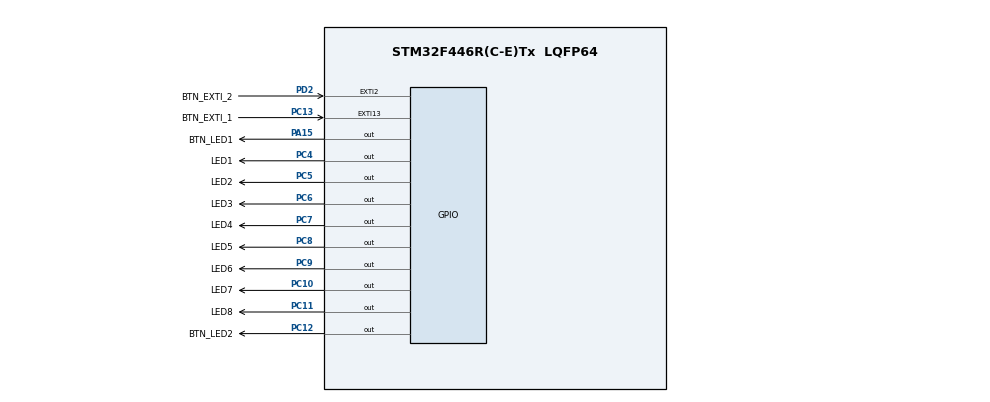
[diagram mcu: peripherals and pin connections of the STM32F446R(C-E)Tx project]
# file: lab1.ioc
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Mcu.Family=STM32F4
Mcu.Name=STM32F446R(C-E)Tx
Mcu.Package=LQFP64
NVIC.EXTI15_10_IRQn=true\:0\:0\:false\:false\:true\:true\:true\:true
NVIC.EXTI2_IRQn=true\:0\:0\:false\:false\:true\:true\:true\:true
NVIC.PriorityGroup=NVIC_PRIORITYGROUP_4
NVIC.TIM2_IRQn=true\:0\:0\:false\:false\:true\:true\:true\:true
PA15.GPIO_Label=BTN_LED1
PA15.Signal=GPIO_Output
PC10.GPIO_Label=LED7
PC10.Signal=GPIO_Output
PC11.GPIO_Label=LED8
PC11.Signal=GPIO_Output
PC12.GPIO_Label=BTN_LED2
PC12.Signal=GPIO_Output
PC13.GPIO_Label=BTN_EXTI_1
PC13.GPIO_ModeDefaultEXTI=GPIO_MODE_IT_FALLING
PC13.Signal=GPXTI13
PC4.GPIO_Label=LED1
PC4.Signal=GPIO_Output
PC5.GPIO_Label=LED2
PC5.Signal=GPIO_Output
PC6.GPIO_Label=LED3
PC6.Signal=GPIO_Output
PC7.GPIO_Label=LED4
PC7.Signal=GPIO_Output
PC8.GPIO_Label=LED5
PC8.Signal=GPIO_Output
PC9.GPIO_Label=LED6
PC9.Signal=GPIO_Output
PD2.GPIO_Label=BTN_EXTI_2
PD2.GPIO_ModeDefaultEXTI=GPIO_MODE_IT_FALLING
PD2.Signal=GPXTI2
ProjectManager.HeapSize=0x200
ProjectManager.StackSize=0x400
ProjectManager.TargetToolchain=STM32CubeIDE
RCC.CortexFreq_Value=16000000
RCC.USBFreq_Value=96000000
RCC.VCOOutputFreq_Value=192000000
TIM2.Period=99
TIM2.Prescaler=15999
VP_TIM2_VS_ClockSourceINT.Mode=Internal
board=custom

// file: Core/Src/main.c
/* USER CODE BEGIN Header */
/**
  ******************************************************************************
  * @file           : main.c
  * @brief          : Main program body
  ******************************************************************************
  * @attention
  *
  * Copyright (c) 2024 STMicroelectronics.
  * All rights reserved.
  *
  * This software is licensed under terms that can be found in the LICENSE file
  * in the root directory of this software component.
  * If no LICENSE file comes with this software, it is provided AS-IS.
  *
  ******************************************************************************
  */
/* USER CODE END Header */
#include "main.h"

/* USER CODE BEGIN PD */
#define A_MAX 255
#define A_MIN 0
/* USER CODE END PD */

TIM_HandleTypeDef htim2;

/* USER CODE BEGIN PV */
volatile uint8_t debounce_flag = 0;
int a = 0b11100111;
/* USER CODE END PV */

void SystemClock_Config(void);
static void MX_GPIO_Init(void);
static void MX_TIM2_Init(void);

/* USER CODE BEGIN 0 */
int get_bit(int number, int i) {
    return (number >> i) & 1;
}
/* USER CODE END 0 */

int main(void)
{

  /* MCU Configuration--------------------------------------------------------*/

  /* Reset of all peripherals, Initializes the Flash interface and the Systick. */
  HAL_Init();

  /* Configure the system clock */
  SystemClock_Config();

  /* Initialize all configured peripherals */
  MX_GPIO_Init();
  MX_TIM2_Init();
  /* USER CODE BEGIN 2 */

  GPIO_TypeDef* LED_PORTS[] = {LED1_GPIO_Port, LED2_GPIO_Port, LED3_GPIO_Port, LED4_GPIO_Port,
                               LED5_GPIO_Port, LED6_GPIO_Port, LED7_GPIO_Port, LED8_GPIO_Port};

  uint16_t LED_PINS[] = {LED1_Pin, LED2_Pin, LED3_Pin, LED4_Pin, LED5_Pin, LED6_Pin, LED7_Pin, LED8_Pin};
  /* USER CODE END 2 */

  /* Infinite loop */
  while (1)
  {

    /* USER CODE BEGIN 3 */
	  for (int i = 0; i < 8; i++){
//		  int bit = ;
		  HAL_GPIO_WritePin(LED_PORTS[i], LED_PINS[i], a & (1<<i));
	  }
  }
  /* USER CODE END 3 */
}

void SystemClock_Config(void)
{
  RCC_OscInitTypeDef RCC_OscInitStruct = {0};
  RCC_ClkInitTypeDef RCC_ClkInitStruct = {0};

  /** Configure the main internal regulator output voltage
  */
  __HAL_RCC_PWR_CLK_ENABLE();
  __HAL_PWR_VOLTAGESCALING_CONFIG(PWR_REGULATOR_VOLTAGE_SCALE3);

  /** Initializes the RCC Oscillators according to the specified parameters
  * in the RCC_OscInitTypeDef structure.
  */
  RCC_OscInitStruct.OscillatorType = RCC_OSCILLATORTYPE_HSI;
  RCC_OscInitStruct.HSIState = RCC_HSI_ON;
  RCC_OscInitStruct.HSICalibrationValue = RCC_HSICALIBRATION_DEFAULT;
  RCC_OscInitStruct.PLL.PLLState = RCC_PLL_NONE;
  if (HAL_RCC_OscConfig(&RCC_OscInitStruct) != HAL_OK)
  {
    Error_Handler();
  }

  /** Initializes the CPU, AHB and APB buses clocks
  */
  RCC_ClkInitStruct.ClockType = RCC_CLOCKTYPE_HCLK|RCC_CLOCKTYPE_SYSCLK
                              |RCC_CLOCKTYPE_PCLK1|RCC_CLOCKTYPE_PCLK2;
  RCC_ClkInitStruct.SYSCLKSource = RCC_SYSCLKSOURCE_HSI;
  RCC_ClkInitStruct.AHBCLKDivider = RCC_SYSCLK_DIV1;
  RCC_ClkInitStruct.APB1CLKDivider = RCC_HCLK_DIV1;
  RCC_ClkInitStruct.APB2CLKDivider = RCC_HCLK_DIV1;

  if (HAL_RCC_ClockConfig(&RCC_ClkInitStruct, FLASH_LATENCY_0) != HAL_OK)
  {
    Error_Handler();
  }
}

static void MX_TIM2_Init(void)
{

  TIM_ClockConfigTypeDef sClockSourceConfig = {0};
  TIM_MasterConfigTypeDef sMasterConfig = {0};

  htim2.Instance = TIM2;
  htim2.Init.Prescaler = 15999;
  htim2.Init.CounterMode = TIM_COUNTERMODE_UP;
  htim2.Init.Period = 99;
  htim2.Init.ClockDivision = TIM_CLOCKDIVISION_DIV1;
  htim2.Init.AutoReloadPreload = TIM_AUTORELOAD_PRELOAD_DISABLE;
  if (HAL_TIM_Base_Init(&htim2) != HAL_OK)
  {
    Error_Handler();
  }
  sClockSourceConfig.ClockSource = TIM_CLOCKSOURCE_INTERNAL;
  if (HAL_TIM_ConfigClockSource(&htim2, &sClockSourceConfig) != HAL_OK)
  {
    Error_Handler();
  }
  sMasterConfig.MasterOutputTrigger = TIM_TRGO_RESET;
  sMasterConfig.MasterSlaveMode = TIM_MASTERSLAVEMODE_DISABLE;
  if (HAL_TIMEx_MasterConfigSynchronization(&htim2, &sMasterConfig) != HAL_OK)
  {
    Error_Handler();
  }

}

static void MX_GPIO_Init(void)
{
  GPIO_InitTypeDef GPIO_InitStruct = {0};

  /* GPIO Ports Clock Enable */
  __HAL_RCC_GPIOC_CLK_ENABLE();
  __HAL_RCC_GPIOA_CLK_ENABLE();
  __HAL_RCC_GPIOD_CLK_ENABLE();

  /*Configure GPIO pin Output Level */
  HAL_GPIO_WritePin(GPIOC, LED1_Pin|LED2_Pin|LED3_Pin|LED4_Pin
                          |LED5_Pin|LED6_Pin|LED7_Pin|LED8_Pin
                          |BTN_LED2_Pin, GPIO_PIN_RESET);

  /*Configure GPIO pin Output Level */
  HAL_GPIO_WritePin(BTN_LED1_GPIO_Port, BTN_LED1_Pin, GPIO_PIN_RESET);

  /*Configure GPIO pin : BTN_EXTI_1_Pin */
  GPIO_InitStruct.Pin = BTN_EXTI_1_Pin;
  GPIO_InitStruct.Mode = GPIO_MODE_IT_FALLING;
  GPIO_InitStruct.Pull = GPIO_NOPULL;
  HAL_GPIO_Init(BTN_EXTI_1_GPIO_Port, &GPIO_InitStruct);

  /*Configure GPIO pins : LED1_Pin LED2_Pin LED3_Pin LED4_Pin
                           LED5_Pin LED6_Pin LED7_Pin LED8_Pin
                           BTN_LED2_Pin */
  GPIO_InitStruct.Pin = LED1_Pin|LED2_Pin|LED3_Pin|LED4_Pin
                          |LED5_Pin|LED6_Pin|LED7_Pin|LED8_Pin
                          |BTN_LED2_Pin;
  GPIO_InitStruct.Mode = GPIO_MODE_OUTPUT_PP;
  GPIO_InitStruct.Pull = GPIO_NOPULL;
  GPIO_InitStruct.Speed = GPIO_SPEED_FREQ_LOW;
  HAL_GPIO_Init(GPIOC, &GPIO_InitStruct);

  /*Configure GPIO pin : BTN_LED1_Pin */
  GPIO_InitStruct.Pin = BTN_LED1_Pin;
  GPIO_InitStruct.Mode = GPIO_MODE_OUTPUT_PP;
  GPIO_InitStruct.Pull = GPIO_NOPULL;
  GPIO_InitStruct.Speed = GPIO_SPEED_FREQ_LOW;
  HAL_GPIO_Init(BTN_LED1_GPIO_Port, &GPIO_InitStruct);

  /*Configure GPIO pin : BTN_EXTI_2_Pin */
  GPIO_InitStruct.Pin = BTN_EXTI_2_Pin;
  GPIO_InitStruct.Mode = GPIO_MODE_IT_FALLING;
  GPIO_InitStruct.Pull = GPIO_NOPULL;
  HAL_GPIO_Init(BTN_EXTI_2_GPIO_Port, &GPIO_InitStruct);

  /* EXTI interrupt init*/
  HAL_NVIC_SetPriority(EXTI2_IRQn, 0, 0);
  HAL_NVIC_EnableIRQ(EXTI2_IRQn);

  HAL_NVIC_SetPriority(EXTI15_10_IRQn, 0, 0);
  HAL_NVIC_EnableIRQ(EXTI15_10_IRQn);

}

/* USER CODE BEGIN 4 */
void HAL_GPIO_EXTI_Callback(uint16_t GPIO_Pin){
	if (debounce_flag) return;

    if (GPIO_Pin == BTN_EXTI_1_Pin){
    	HAL_GPIO_WritePin(BTN_LED1_GPIO_Port, BTN_LED1_Pin, GPIO_PIN_SET);
		if (a < A_MAX){
			a++;
		}
    }
    else if (GPIO_Pin == BTN_EXTI_2_Pin){
    	HAL_GPIO_WritePin(BTN_LED2_GPIO_Port, BTN_LED2_Pin, GPIO_PIN_SET);
    	if (a > A_MIN){
			a--;
		}
    }

    debounce_flag = 1;
	HAL_TIM_Base_Start_IT(&htim2);
}

void TIM2_Callback(void){
	HAL_GPIO_WritePin(BTN_LED1_GPIO_Port, BTN_LED1_Pin, GPIO_PIN_RESET);
	HAL_GPIO_WritePin(BTN_LED2_GPIO_Port, BTN_LED2_Pin, GPIO_PIN_RESET);
	debounce_flag = 0;
	HAL_TIM_Base_Stop_IT(&htim2);
}
/* USER CODE END 4 */

void Error_Handler(void)
{
  __disable_irq();
  while (1)
  {
  }
}
